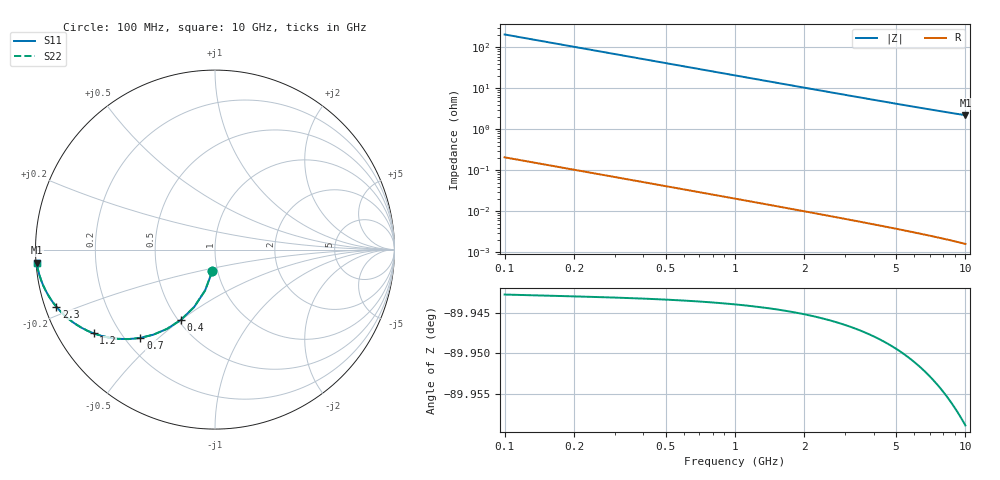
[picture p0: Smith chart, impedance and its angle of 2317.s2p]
# Hz S RI R 50.00
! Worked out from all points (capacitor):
!   100 points, 100 MHz to 10 GHz, reference 50 ohm
!   read as one part in shunt: C = 7.68 pF near 100 MHz
!   lowest |Z| = 2.22 ohm at 10 GHz (marker M1)
!   S11 on the Smith chart (normalised r, x): 100 MHz: 0.94, -0.23; 400 MHz: 0.52, -0.50; 700 MHz: 0.26, -0.44; 1.2 GHz: 0.11, -0.31; 2.3 GHz: 0.03, -0.17; 10 GHz: 0.00, -0.04
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1e8  -0.0144 -0.1188  0.9855 -0.1189  0.9855 -0.1189  -0.0144 -0.1188
2e8  -0.0551 -0.2277  0.9448 -0.2279  0.9448 -0.2279  -0.0551 -0.2277
3e8  -0.1159 -0.3195  0.884 -0.3199  0.884 -0.3199  -0.1159 -0.3195
4e8  -0.1889 -0.3907  0.811 -0.3912  0.811 -0.3912  -0.1889 -0.3907
5e8  -0.2667 -0.4414  0.7332 -0.4421  0.7332 -0.4421  -0.2667 -0.4414
6e8  -0.3437 -0.474  0.6563 -0.4748  0.6563 -0.4748  -0.3437 -0.474
7e8  -0.416 -0.4919  0.5839 -0.4929  0.5839 -0.4929  -0.416 -0.4919
9e8  -0.5406 -0.4972  0.4593 -0.4985  0.4593 -0.4985  -0.5406 -0.4972
1e9  -0.5922 -0.4902  0.4077 -0.4916  0.4077 -0.4916  -0.5922 -0.4902
1.2e9  -0.6764 -0.4665  0.3235 -0.4681  0.3235 -0.4681  -0.6764 -0.4665
1.3e9  -0.7104 -0.4522  0.2896 -0.454  0.2896 -0.454  -0.7104 -0.4522
1.5e9  -0.7655 -0.4222  0.2345 -0.4242  0.2345 -0.4242  -0.7655 -0.4222
1.8e9  -0.8245 -0.3787  0.1755 -0.3811  0.1755 -0.3811  -0.8245 -0.3787
2e9  -0.8529 -0.3523  0.1471 -0.3551  0.1471 -0.3551  -0.8529 -0.3523
2.3e9  -0.8846 -0.3174  0.1154 -0.3206  0.1154 -0.3206  -0.8846 -0.3174
2.8e9  -0.919 -0.2703  0.0809 -0.2742  0.0809 -0.2742  -0.919 -0.2703
3.4e9  -0.9436 -0.2278  0.0564 -0.2325  0.0564 -0.2325  -0.9436 -0.2278
4.2e9  -0.9623 -0.187  0.0376 -0.1928  0.0376 -0.1928  -0.9623 -0.187
5.1e9  -0.9741 -0.1545  0.0258 -0.1616  0.0258 -0.1616  -0.9741 -0.1545
6.7e9  -0.9849 -0.1165  0.015 -0.126  0.015 -0.126  -0.9849 -0.1165
8.4e9  -0.9904 -0.0907  0.00948 -0.1027  0.00948 -0.1027  -0.9904 -0.0907
1e10  -0.9932 -0.0737  0.00659 -0.0881  0.00659 -0.0881  -0.9932 -0.0737
